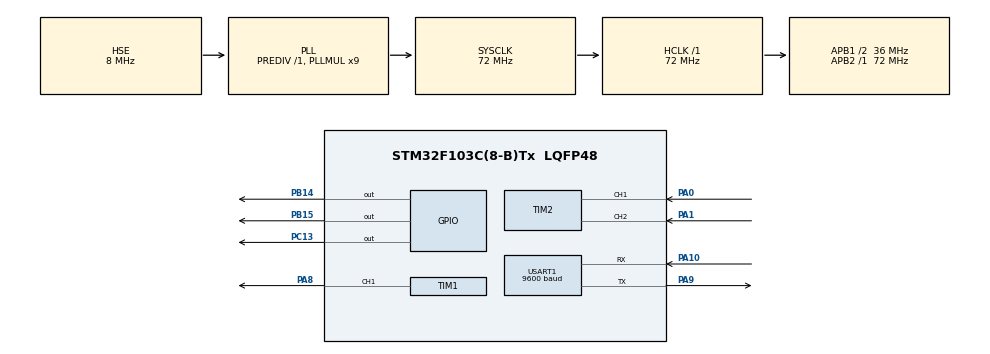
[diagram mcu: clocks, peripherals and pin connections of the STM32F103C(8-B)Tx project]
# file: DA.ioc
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Mcu.Family=STM32F1
Mcu.Name=STM32F103C(8-B)Tx
Mcu.Package=LQFP48
NVIC.PriorityGroup=NVIC_PRIORITYGROUP_4
NVIC.USART1_IRQn=true\:1\:0\:true\:false\:true\:true\:true\:true
PA0-WKUP.Signal=S_TIM2_CH1_ETR
PA1.Signal=S_TIM2_CH2
PA10.Mode=Asynchronous
PA10.Signal=USART1_RX
PA13.Mode=Serial_Wire
PA13.Signal=SYS_JTMS-SWDIO
PA14.Mode=Serial_Wire
PA14.Signal=SYS_JTCK-SWCLK
PA8.Signal=S_TIM1_CH1
PA9.Mode=Asynchronous
PA9.Signal=USART1_TX
PB14.Signal=GPIO_Output
PB15.Signal=GPIO_Output
PC13-TAMPER-RTC.Signal=GPIO_Output
PD0-OSC_IN.Mode=HSE-External-Oscillator
PD0-OSC_IN.Signal=RCC_OSC_IN
PD1-OSC_OUT.Mode=HSE-External-Oscillator
PD1-OSC_OUT.Signal=RCC_OSC_OUT
ProjectManager.HeapSize=0x200
ProjectManager.StackSize=0x400
ProjectManager.TargetToolchain=MDK-ARM V5
RCC.AHBFreq_Value=72000000
RCC.APB1CLKDivider=RCC_HCLK_DIV2
RCC.APB1Freq_Value=36000000
RCC.APB1TimFreq_Value=72000000
RCC.APB2Freq_Value=72000000
RCC.APB2TimFreq_Value=72000000
RCC.HCLKFreq_Value=72000000
RCC.PLLMUL=RCC_PLL_MUL9
RCC.PLLSourceVirtual=RCC_PLLSOURCE_HSE
RCC.SYSCLKFreq_VALUE=72000000
RCC.SYSCLKSource=RCC_SYSCLKSOURCE_PLLCLK
RCC.USBFreq_Value=72000000
SH.S_TIM1_CH1.0=TIM1_CH1,PWM Generation1 CH1
SH.S_TIM2_CH1_ETR.0=TIM2_CH1,Encoder_Interface
SH.S_TIM2_CH2.0=TIM2_CH2,Encoder_Interface
TIM1.Channel-PWM\ Generation1\ CH1=TIM_CHANNEL_1
TIM1.Period=9999
TIM1.Prescaler=143
TIM2.EncoderMode=TIM_ENCODERMODE_TI12
USART1.BaudRate=9600
USART1.VirtualMode=VM_ASYNC
VP_TIM1_VS_ClockSourceINT.Mode=Internal
board=custom

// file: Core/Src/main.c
/* USER CODE BEGIN Header */
/**
  ******************************************************************************
  * @file           : main.c
  * @brief          : Main program body
  ******************************************************************************
  * @attention
  *
  * Copyright (c) 2023 STMicroelectronics.
  * All rights reserved.
  *
  * This software is licensed under terms that can be found in the LICENSE file
  * in the root directory of this software component.
  * If no LICENSE file comes with this software, it is provided AS-IS.
  *
  ******************************************************************************
  */
/* USER CODE END Header */
#include "main.h"

/* USER CODE BEGIN Includes */
#include "math.h"

uint8_t txBuffer[13];
uint8_t RxBuffer[13];
uint16_t SetValue;
uint16_t Target ;

//********************* SET PWM *************
volatile uint8_t duty;
//********************* READ RPM ENCODER ****
int32_t encoder_cnt;
int32_t encoder_cnt_pre ;
volatile int32_t read_rpm ;
volatile int32_t rpm;
//********************* PID *****************
float Kp ;
float Ki ;
float Kd ;
volatile float u  ;
float error ;
float integral ;
float derivative;
float pre_error;

volatile float dt ;
//********************** Output *************
volatile float output_rpm;
volatile float output_pos;
int dir;
//********************* Count Encoder *****************
int32_t pos_cnt;
volatile int32_t read_pos;
volatile int32_t Flag = 0;
//*********************Load************************
uint8_t load=0;
uint16_t val;
//******************READ ENCODER*************************
int32_t rpmPrev ;
int32_t rpmfilter ;
/* USER CODE END Includes */

TIM_HandleTypeDef htim1;
TIM_HandleTypeDef htim2;

UART_HandleTypeDef huart1;

void SystemClock_Config(void);
static void MX_GPIO_Init(void);
static void MX_TIM1_Init(void);
static void MX_TIM2_Init(void);
static void MX_USART1_UART_Init(void);

/* USER CODE BEGIN 0 */

long map(long x, long in_min, long in_max, long out_min, long out_max) {
  return (x - in_min) * (out_max - out_min) / (in_max - in_min) + out_min;
}
////////////////////////////////////////////////////////////////////////////////////////////////////////////////////////
void pwm_set_duty(uint8_t duty)//0-100
{
	uint16_t ccr = duty*htim1.Instance->ARR/100;
  htim1.Instance->CCR1 = ccr;
}
///////////////////////////////////////////////////////////////////////////////////////////////////////////////////////////

int read_rpm_encoder(void)
{

	uint32_t tickstart = HAL_GetTick();

  while((HAL_GetTick() - tickstart) <= 100)
  {
    encoder_cnt = __HAL_TIM_GetCounter(&htim2);
  }

	   rpm = (encoder_cnt - encoder_cnt_pre)*1000/(100*22);

		 encoder_cnt_pre = encoder_cnt;
	   rpmfilter = 0.854*rpmfilter + 0.0728*rpm + 0.0728*rpmPrev;
	   rpmPrev = rpm;
		 return rpmfilter;
}

int count_encoder(void)
{
	uint32_t tickstart = HAL_GetTick();
  while((HAL_GetTick() - tickstart) <= 100)
  {
    pos_cnt = __HAL_TIM_GetCounter(&htim2);
  }
return pos_cnt;
}
////////////////////////////////////////////////////////////////////////////////////////////////////////////////////////
void pid_control(uint16_t setpoint, int actual)
{
  // Tính sai sai so (error)
  error = (float)(setpoint  - actual)   ;
  // Tính tông tích phân (integral)
  integral+= (float)error*0.1;
  // Tính dao hàm (derivative)
  derivative = (float)(error - pre_error)/0.1;
  // Tính giá tri diêu khiên (output)
  u = (Kp * error + Ki * integral + Kd * derivative);

  pre_error = error;

}
////////////////////////////////////////////////////////////////////////////////////////////////////////////////////
void transmit_data(int read,int set)
{
	for (int i = 0; i < 3; i++)
	{
		 txBuffer[i] = RxBuffer[i];
	}
	for (int i = 0; i < 2; i++)
	{
    txBuffer[i+3] = ((read) >> (i*8))& 0xFF;
  }
		for (int i = 0; i < 2; i++)
	{
		 txBuffer[i+5] = ((set) >> (i*8))& 0xFF;;
	}
	for (int i = 0; i < 6; i++)
	{
		 txBuffer[i+7] = RxBuffer[i+7];
	}
		HAL_UART_Transmit(&huart1, txBuffer, 13, HAL_MAX_DELAY);
}
////////////////////////////////////////////////////////////////////////////////////////////////////////////////////
void Setmotor(int dir, int pwm)
{
	HAL_TIM_PWM_Start(&htim1,TIM_CHANNEL_1);
	if(dir == 1)
	{
		 HAL_GPIO_WritePin(GPIOB, GPIO_PIN_15, 1);
     HAL_GPIO_WritePin(GPIOB, GPIO_PIN_14, 0);
	}else if(dir == -1)
	{
		HAL_GPIO_WritePin(GPIOB, GPIO_PIN_15, 0);
    HAL_GPIO_WritePin(GPIOB, GPIO_PIN_14, 1);
	}else
	{
		HAL_GPIO_WritePin(GPIOB, GPIO_PIN_15, 0);
    HAL_GPIO_WritePin(GPIOB, GPIO_PIN_14, 0);
	}
	pwm_set_duty(pwm);
}

/* USER CODE END 0 */

int main(void)
{

  /* MCU Configuration--------------------------------------------------------*/

  /* Reset of all peripherals, Initializes the Flash interface and the Systick. */
  HAL_Init();

  /* Configure the system clock */
  SystemClock_Config();

  /* Initialize all configured peripherals */
  MX_GPIO_Init();
  MX_TIM1_Init();
  MX_TIM2_Init();
  MX_USART1_UART_Init();
  /* USER CODE BEGIN 2 */

HAL_UART_Receive_IT(&huart1, RxBuffer, 13);

  /* USER CODE END 2 */

  /* Infinite loop */
  while (1)
  {

    /* USER CODE BEGIN 3 */
		if(load == 0)
		{
			val = 333;
		}
		else
		{
			val = 250;
		}
// VELOCITY *********************************************
		if(Flag ==1)
		{
			read_rpm = read_rpm_encoder();
      pid_control(SetValue,read_rpm);
			if(u > val)
			{
				u = val;
			}
      output_rpm  = (int)fabs(u);
		  duty = map(output_rpm ,0,val,0,100);
			if(duty > 100)
			{
				duty = 100;
			}
			if (duty < 10)
			{
				duty = 10;
			}
     // Ðiêu khiên dông co bang PWM
      Setmotor(1, duty);
      transmit_data(read_rpm,SetValue);
		}
// POSITION *****************************************
		if(Flag == 2)
		{
//			int dir =0;
			read_pos  = count_encoder();
	    pid_control(Target, read_pos);
			output_pos = (int)fabs(u);
			//DRIVER
			if(u < 0)
			{
				dir = -1;
				output_pos = 12;
			}
			else if(u > 0)
			{
				dir = 1;
			}
      else{dir =0;}

			Setmotor(dir,output_pos);
			transmit_data(read_pos,Target);
		}
//STOP******************************
		if(Flag ==3)
		{
			__HAL_TIM_SetCounter(&htim2, 0);
			HAL_TIM_PWM_Stop(&htim1,TIM_CHANNEL_1);
		 	HAL_TIM_Encoder_Stop(&htim2,TIM_CHANNEL_1 | TIM_CHANNEL_2);
			NVIC_SystemReset();
			break;
		}

  }
  /* USER CODE END 3 */
}

void SystemClock_Config(void)
{
  RCC_OscInitTypeDef RCC_OscInitStruct = {0};
  RCC_ClkInitTypeDef RCC_ClkInitStruct = {0};

  /** Initializes the RCC Oscillators according to the specified parameters
  * in the RCC_OscInitTypeDef structure.
  */
  RCC_OscInitStruct.OscillatorType = RCC_OSCILLATORTYPE_HSE;
  RCC_OscInitStruct.HSEState = RCC_HSE_ON;
  RCC_OscInitStruct.HSEPredivValue = RCC_HSE_PREDIV_DIV1;
  RCC_OscInitStruct.HSIState = RCC_HSI_ON;
  RCC_OscInitStruct.PLL.PLLState = RCC_PLL_ON;
  RCC_OscInitStruct.PLL.PLLSource = RCC_PLLSOURCE_HSE;
  RCC_OscInitStruct.PLL.PLLMUL = RCC_PLL_MUL9;
  if (HAL_RCC_OscConfig(&RCC_OscInitStruct) != HAL_OK)
  {
    Error_Handler();
  }

  /** Initializes the CPU, AHB and APB buses clocks
  */
  RCC_ClkInitStruct.ClockType = RCC_CLOCKTYPE_HCLK|RCC_CLOCKTYPE_SYSCLK
                              |RCC_CLOCKTYPE_PCLK1|RCC_CLOCKTYPE_PCLK2;
  RCC_ClkInitStruct.SYSCLKSource = RCC_SYSCLKSOURCE_PLLCLK;
  RCC_ClkInitStruct.AHBCLKDivider = RCC_SYSCLK_DIV1;
  RCC_ClkInitStruct.APB1CLKDivider = RCC_HCLK_DIV2;
  RCC_ClkInitStruct.APB2CLKDivider = RCC_HCLK_DIV1;

  if (HAL_RCC_ClockConfig(&RCC_ClkInitStruct, FLASH_LATENCY_2) != HAL_OK)
  {
    Error_Handler();
  }
}

static void MX_TIM1_Init(void)
{

  TIM_ClockConfigTypeDef sClockSourceConfig = {0};
  TIM_MasterConfigTypeDef sMasterConfig = {0};
  TIM_OC_InitTypeDef sConfigOC = {0};
  TIM_BreakDeadTimeConfigTypeDef sBreakDeadTimeConfig = {0};

  htim1.Instance = TIM1;
  htim1.Init.Prescaler = 143;
  htim1.Init.CounterMode = TIM_COUNTERMODE_UP;
  htim1.Init.Period = 9999;
  htim1.Init.ClockDivision = TIM_CLOCKDIVISION_DIV1;
  htim1.Init.RepetitionCounter = 0;
  htim1.Init.AutoReloadPreload = TIM_AUTORELOAD_PRELOAD_DISABLE;
  if (HAL_TIM_Base_Init(&htim1) != HAL_OK)
  {
    Error_Handler();
  }
  sClockSourceConfig.ClockSource = TIM_CLOCKSOURCE_INTERNAL;
  if (HAL_TIM_ConfigClockSource(&htim1, &sClockSourceConfig) != HAL_OK)
  {
    Error_Handler();
  }
  if (HAL_TIM_PWM_Init(&htim1) != HAL_OK)
  {
    Error_Handler();
  }
  sMasterConfig.MasterOutputTrigger = TIM_TRGO_RESET;
  sMasterConfig.MasterSlaveMode = TIM_MASTERSLAVEMODE_DISABLE;
  if (HAL_TIMEx_MasterConfigSynchronization(&htim1, &sMasterConfig) != HAL_OK)
  {
    Error_Handler();
  }
  sConfigOC.OCMode = TIM_OCMODE_PWM1;
  sConfigOC.Pulse = 0;
  sConfigOC.OCPolarity = TIM_OCPOLARITY_HIGH;
  sConfigOC.OCNPolarity = TIM_OCNPOLARITY_HIGH;
  sConfigOC.OCFastMode = TIM_OCFAST_DISABLE;
  sConfigOC.OCIdleState = TIM_OCIDLESTATE_RESET;
  sConfigOC.OCNIdleState = TIM_OCNIDLESTATE_RESET;
  if (HAL_TIM_PWM_ConfigChannel(&htim1, &sConfigOC, TIM_CHANNEL_1) != HAL_OK)
  {
    Error_Handler();
  }
  sBreakDeadTimeConfig.OffStateRunMode = TIM_OSSR_DISABLE;
  sBreakDeadTimeConfig.OffStateIDLEMode = TIM_OSSI_DISABLE;
  sBreakDeadTimeConfig.LockLevel = TIM_LOCKLEVEL_OFF;
  sBreakDeadTimeConfig.DeadTime = 0;
  sBreakDeadTimeConfig.BreakState = TIM_BREAK_DISABLE;
  sBreakDeadTimeConfig.BreakPolarity = TIM_BREAKPOLARITY_HIGH;
  sBreakDeadTimeConfig.AutomaticOutput = TIM_AUTOMATICOUTPUT_DISABLE;
  if (HAL_TIMEx_ConfigBreakDeadTime(&htim1, &sBreakDeadTimeConfig) != HAL_OK)
  {
    Error_Handler();
  }
  HAL_TIM_MspPostInit(&htim1);

}

static void MX_TIM2_Init(void)
{

  TIM_Encoder_InitTypeDef sConfig = {0};
  TIM_MasterConfigTypeDef sMasterConfig = {0};

  htim2.Instance = TIM2;
  htim2.Init.Prescaler = 0;
  htim2.Init.CounterMode = TIM_COUNTERMODE_UP;
  htim2.Init.Period = 65535;
  htim2.Init.ClockDivision = TIM_CLOCKDIVISION_DIV1;
  htim2.Init.AutoReloadPreload = TIM_AUTORELOAD_PRELOAD_DISABLE;
  sConfig.EncoderMode = TIM_ENCODERMODE_TI12;
  sConfig.IC1Polarity = TIM_ICPOLARITY_RISING;
  sConfig.IC1Selection = TIM_ICSELECTION_DIRECTTI;
  sConfig.IC1Prescaler = TIM_ICPSC_DIV1;
  sConfig.IC1Filter = 0;
  sConfig.IC2Polarity = TIM_ICPOLARITY_RISING;
  sConfig.IC2Selection = TIM_ICSELECTION_DIRECTTI;
  sConfig.IC2Prescaler = TIM_ICPSC_DIV1;
  sConfig.IC2Filter = 0;
  if (HAL_TIM_Encoder_Init(&htim2, &sConfig) != HAL_OK)
  {
    Error_Handler();
  }
  sMasterConfig.MasterOutputTrigger = TIM_TRGO_RESET;
  sMasterConfig.MasterSlaveMode = TIM_MASTERSLAVEMODE_DISABLE;
  if (HAL_TIMEx_MasterConfigSynchronization(&htim2, &sMasterConfig) != HAL_OK)
  {
    Error_Handler();
  }

}

static void MX_USART1_UART_Init(void)
{

  huart1.Instance = USART1;
  huart1.Init.BaudRate = 9600;
  huart1.Init.WordLength = UART_WORDLENGTH_8B;
  huart1.Init.StopBits = UART_STOPBITS_1;
  huart1.Init.Parity = UART_PARITY_NONE;
  huart1.Init.Mode = UART_MODE_TX_RX;
  huart1.Init.HwFlowCtl = UART_HWCONTROL_NONE;
  huart1.Init.OverSampling = UART_OVERSAMPLING_16;
  if (HAL_UART_Init(&huart1) != HAL_OK)
  {
    Error_Handler();
  }

}

static void MX_GPIO_Init(void)
{
  GPIO_InitTypeDef GPIO_InitStruct = {0};

  /* GPIO Ports Clock Enable */
  __HAL_RCC_GPIOC_CLK_ENABLE();
  __HAL_RCC_GPIOD_CLK_ENABLE();
  __HAL_RCC_GPIOA_CLK_ENABLE();
  __HAL_RCC_GPIOB_CLK_ENABLE();

  /*Configure GPIO pin Output Level */
  HAL_GPIO_WritePin(GPIOC, GPIO_PIN_13, GPIO_PIN_RESET);

  /*Configure GPIO pin Output Level */
  HAL_GPIO_WritePin(GPIOB, GPIO_PIN_14|GPIO_PIN_15, GPIO_PIN_RESET);

  /*Configure GPIO pin : PC13 */
  GPIO_InitStruct.Pin = GPIO_PIN_13;
  GPIO_InitStruct.Mode = GPIO_MODE_OUTPUT_PP;
  GPIO_InitStruct.Pull = GPIO_NOPULL;
  GPIO_InitStruct.Speed = GPIO_SPEED_FREQ_LOW;
  HAL_GPIO_Init(GPIOC, &GPIO_InitStruct);

  /*Configure GPIO pins : PB14 PB15 */
  GPIO_InitStruct.Pin = GPIO_PIN_14|GPIO_PIN_15;
  GPIO_InitStruct.Mode = GPIO_MODE_OUTPUT_PP;
  GPIO_InitStruct.Pull = GPIO_NOPULL;
  GPIO_InitStruct.Speed = GPIO_SPEED_FREQ_LOW;
  HAL_GPIO_Init(GPIOB, &GPIO_InitStruct);

}

/* USER CODE BEGIN 4 */
void HAL_UART_RxCpltCallback(UART_HandleTypeDef *huart)
{
	if(huart->Instance == huart1.Instance)
	{
		HAL_TIM_Encoder_Start(&htim2,TIM_CHANNEL_1 | TIM_CHANNEL_2);
		if(RxBuffer[0] == 'V' && RxBuffer[1] == 'E' &&  RxBuffer[2] =='L')
		{
			load = (uint8_t)(RxBuffer[3]);
			SetValue =((uint16_t)RxBuffer[5] << 8) | RxBuffer[6]; // k?t h?p hai byte thành m?t s? 16-bit
      Kp = (float)(((uint16_t)RxBuffer[7] << 8) | RxBuffer[8])/10000;
			Ki = (float)(((uint16_t)RxBuffer[9] << 8) | RxBuffer[10])/10000;
			Kd = (float)(((uint16_t)RxBuffer[11] << 8) | RxBuffer[12])/10000;

			Flag =1;
	  }else if(RxBuffer[0] == 'P' && RxBuffer[1] == 'O' &&  RxBuffer[2] == 'S')
		{
			load = (uint8_t)(RxBuffer[3]);
			Target = ((uint16_t)RxBuffer[5] << 8) | RxBuffer[6];
			Kp = (float)(((uint16_t)RxBuffer[7] << 8) | RxBuffer[8])/10000;
			Ki = (float)(((uint16_t)RxBuffer[9] << 8) | RxBuffer[10])/10000;
			Kd = (float)(((uint16_t)RxBuffer[11] << 8) | RxBuffer[12])/10000;
			Flag = 2;
		}
		else
		{
		Flag = 3;
		}

		HAL_UART_Receive_IT(&huart1, RxBuffer, 13);
	}
}
/* USER CODE END 4 */

void Error_Handler(void)
{
  __disable_irq();
  while (1)
  {
  }
}
